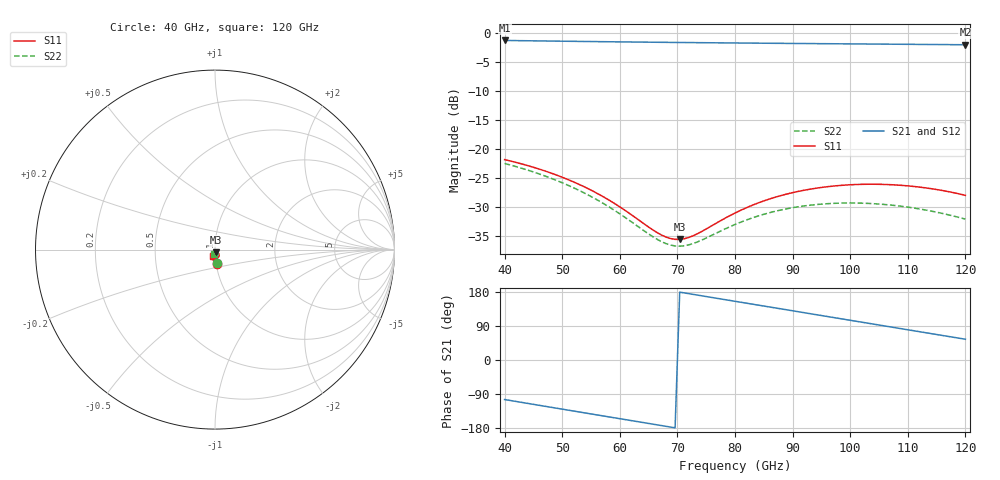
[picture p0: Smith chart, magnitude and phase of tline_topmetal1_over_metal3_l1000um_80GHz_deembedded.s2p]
! Created with skrf 2.0.1 (http://scikit-rf.org).
# GHz S DB R 50.0
!freq dBS11 angS11 dBS21 angS21 dBS12 angS12 dBS22 angS22
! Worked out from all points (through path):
!   101 points, 40 GHz to 120 GHz, reference 50 ohm
!   highest |S21| = -1.35 dB at 40 GHz (marker M1); lowest = -2.1 dB at 120 GHz (marker M2)
!   group delay of S21, straight-line fit = 6.97 ps
!   lowest |S11| = -35.6 dB at 70.4 GHz (marker M3), VSWR 1.03, Z = 50.4 - j1.62 ohm
!   |S11| at or under -10 dB: start of sweep to end of sweep
!   |S22| runs from -36.8 to -22.5 dB; largest |S21 - S12| = 5e-16
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40  -21.88 -81.5  -1.35 -104.3  -1.35 -104.3  -22.55 -80.3
43.2  -22.69 -88.5  -1.39 -112.5  -1.39 -112.5  -23.44 -87.1
46.4  -23.64 -95.1  -1.43 -120.6  -1.43 -120.6  -24.49 -93.5
53.6  -26.46 -107.4  -1.52 -138.8  -1.52 -138.8  -27.52 -105.3
57.6  -28.55 -111.5  -1.56 -148.8  -1.56 -148.8  -29.71 -109.0
60.8  -30.55 -111.8  -1.60 -156.9  -1.60 -156.9  -31.76 -109.0
64  -32.80 -107.4  -1.63 -164.9  -1.63 -164.9  -34.00 -104.4
67.2  -34.86 -95.3  -1.66 -173.0  -1.66 -173.0  -36.00 -92.7
68.8  -35.48 -86.1  -1.68 -177.0  -1.68 -177.0  -36.61 -84.3
70.4  -35.63 -76.1  -1.70 179.0  -1.70 179.0  -36.80 -75.1
72.8  -34.97 -62.6  -1.72 173.0  -1.72 173.0  -36.32 -62.8
76  -33.26 -51.8  -1.75 165.0  -1.75 165.0  -34.91 -52.7
80  -31.09 -47.9  -1.78 154.9  -1.78 154.9  -33.07 -48.8
86.4  -28.54 -52.3  -1.83 138.9  -1.83 138.9  -30.93 -52.7
90.4  -27.48 -57.9  -1.86 128.9  -1.86 128.9  -30.10 -58.1
93.6  -26.88 -63.1  -1.89 120.9  -1.89 120.9  -29.67 -63.1
97.6  -26.39 -70.0  -1.92 110.8  -1.92 110.8  -29.40 -69.8
100.8  -26.18 -75.8  -1.94 102.8  -1.94 102.8  -29.36 -75.3
104  -26.12 -81.6  -1.97 94.8  -1.97 94.8  -29.47 -80.8
107.2  -26.21 -87.3  -1.99 86.8  -1.99 86.8  -29.73 -86.2
113.6  -26.82 -98.2  -2.04 70.8  -2.04 70.8  -30.66 -96.1
120  -28.04 -107.4  -2.08 54.8  -2.08 54.8  -32.14 -103.9
